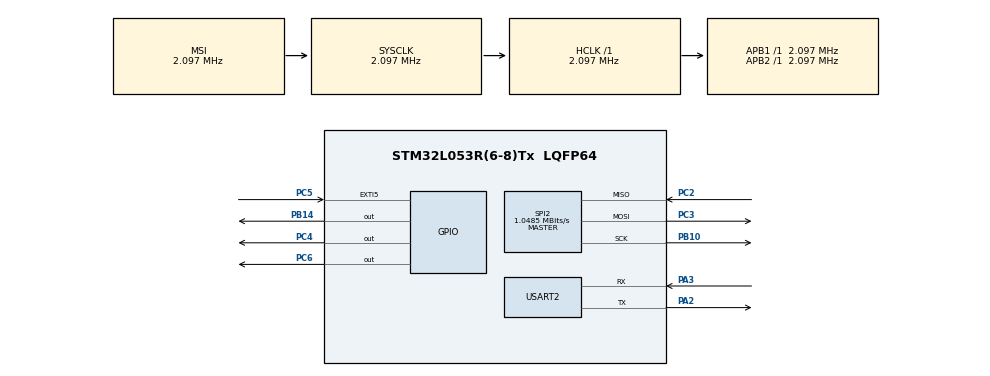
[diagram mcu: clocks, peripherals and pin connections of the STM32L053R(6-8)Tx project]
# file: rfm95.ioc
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Mcu.Family=STM32L0
Mcu.Name=STM32L053R(6-8)Tx
Mcu.Package=LQFP64
PA2.Mode=Asynchronous
PA2.Signal=USART2_TX
PA3.Mode=Asynchronous
PA3.Signal=USART2_RX
PB10.Mode=Full_Duplex_Master
PB10.Signal=SPI2_SCK
PB14.Signal=GPIO_Output
PC2.Mode=Full_Duplex_Master
PC2.Signal=SPI2_MISO
PC3.Mode=Full_Duplex_Master
PC3.Signal=SPI2_MOSI
PC4.Signal=GPIO_Output
PC5.Signal=GPXTI5
PC6.Signal=GPIO_Output
ProjectManager.HeapSize=0x200
ProjectManager.StackSize=0x400
ProjectManager.TargetToolchain=MDK-ARM V5.27
RCC.AHBFreq_Value=2097000
RCC.APB1Freq_Value=2097000
RCC.APB1TimFreq_Value=2097000
RCC.APB2Freq_Value=2097000
RCC.APB2TimFreq_Value=2097000
RCC.HSE_VALUE=8000000
RCC.HSI16_VALUE=16000000
RCC.HSI48_VALUE=48000000
RCC.HSI_VALUE=16000000
RCC.LSE_VALUE=32768
RCC.MSI_VALUE=2097000
RCC.SYSCLKFreq_VALUE=2097000
RCC.VCOOutputFreq_Value=48000000
SPI2.CalculateBaudRate=1.0485 MBits/s
SPI2.Direction=SPI_DIRECTION_2LINES
SPI2.Mode=SPI_MODE_MASTER
SPI2.VirtualType=VM_MASTER
USART2.VirtualMode-Asynchronous=VM_ASYNC
board=custom

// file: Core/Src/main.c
/* USER CODE BEGIN Header */
/**
  ******************************************************************************
  * @file           : main.c
  * @brief          : Main program body
  ******************************************************************************
  * @attention
  *
  * <h2><center>&copy; Copyright (c) 2021 STMicroelectronics.
  * All rights reserved.</center></h2>
  *
  * This software component is licensed by ST under BSD 3-Clause license,
  * the "License"; You may not use this file except in compliance with the
  * License. You may obtain a copy of the License at:
  *                        opensource.org/licenses/BSD-3-Clause
  *
  ******************************************************************************
  */
/* USER CODE END Header */
#include "main.h"

/* USER CODE BEGIN Includes */
#include "lora_sx1276.h"
#include <stdio.h>
/* USER CODE END Includes */

SPI_HandleTypeDef hspi2;

UART_HandleTypeDef huart2;

void SystemClock_Config(void);
static void MX_GPIO_Init(void);
static void MX_SPI2_Init(void);
static void MX_USART2_UART_Init(void);

/* USER CODE BEGIN 0 */
//Luyao: redirect printf output to USART
#ifdef __GNUC__
  /* With GCC/RAISONANCE, small printf (option LD Linker->Libraries->Small printf
     set to 'Yes') calls __io_putchar() */
  #define PUTCHAR_PROTOTYPE int __io_putchar(int ch)
#else
  #define PUTCHAR_PROTOTYPE int fputc(int ch, FILE *f)
#endif /* __GNUC__ */
/**
  * @brief  Retargets the C library printf function to the USART.
  * @param  None
  * @retval None
  */
PUTCHAR_PROTOTYPE
{
  /* Place your implementation of fputc here */
  /* e.g. write a character to the EVAL_COM1 and Loop until the end of transmission */
  HAL_UART_Transmit(&huart2, (uint8_t *)&ch, 1, 0xFFFF);

  return ch;
}

#define Dummy_Byte    0xFF

/*
PC2 MISO  IN
PC3 MOSI  OUT

PB10 SCK  OUT
PB14 SSN  OUT

PC4 EN    OUT
PC5 IRQ   EXT
PC6 RST   OUT

*/

void SPI_CS_1(){
		HAL_GPIO_WritePin(GPIOB, GPIO_PIN_14, GPIO_PIN_SET);
}

void SPI_CS_0(){
		HAL_GPIO_WritePin(GPIOB, GPIO_PIN_14, GPIO_PIN_RESET);
}

void SPI_SCK_1(){
		HAL_GPIO_WritePin(GPIOB, GPIO_PIN_10, GPIO_PIN_SET);
}

void SPI_SCK_0(){
		HAL_GPIO_WritePin(GPIOB, GPIO_PIN_10, GPIO_PIN_RESET);
}

void SPI_MOSI_1(){
		HAL_GPIO_WritePin(GPIOC, GPIO_PIN_3, GPIO_PIN_SET);
}

void SPI_MOSI_0(){
	HAL_GPIO_WritePin(GPIOC, GPIO_PIN_3, GPIO_PIN_RESET);
}

void SPI_RST_1(){
	HAL_GPIO_WritePin(GPIOC, GPIO_PIN_6, GPIO_PIN_RESET);
}

void SPI_RST_0(){
	HAL_GPIO_WritePin(GPIOC, GPIO_PIN_6, GPIO_PIN_RESET);
}

uint8_t SPI_READ_MISO(){
	GPIO_PinState bitstatus = HAL_GPIO_ReadPin(GPIOC, GPIO_PIN_2);
	return bitstatus;
}

void SPI_IoInit(void)
{

	/*
	PB10 SCK  OUT
	PB14 SSN  OUT

	PC2 MISO  IN

	PC3 MOSI  OUT
	PC4 EN    OUT
	PC6 RST   OUT

	PC5 IRQ   EXT
	*/
  GPIO_InitTypeDef GPIO_InitStruct = {0};

  GPIO_InitStruct.Pin = GPIO_PIN_10 | GPIO_PIN_14;
  GPIO_InitStruct.Mode = GPIO_MODE_OUTPUT_PP;
  GPIO_InitStruct.Pull = GPIO_NOPULL;
  GPIO_InitStruct.Speed = GPIO_SPEED_FREQ_HIGH;
  HAL_GPIO_Init(GPIOB, &GPIO_InitStruct);

  GPIO_InitStruct.Pin = GPIO_PIN_2;
  GPIO_InitStruct.Mode = GPIO_MODE_INPUT;
  GPIO_InitStruct.Pull = GPIO_NOPULL;
  GPIO_InitStruct.Speed = GPIO_SPEED_FREQ_HIGH;
  HAL_GPIO_Init(GPIOC, &GPIO_InitStruct);

	GPIO_InitStruct.Pin = GPIO_PIN_3 | GPIO_PIN_4 | GPIO_PIN_6;
  GPIO_InitStruct.Mode = GPIO_MODE_OUTPUT_PP;
  GPIO_InitStruct.Pull = GPIO_NOPULL;
  GPIO_InitStruct.Speed = GPIO_SPEED_FREQ_LOW;
  HAL_GPIO_Init(GPIOC, &GPIO_InitStruct);

	SPI_CS_1();
  SPI_SCK_0();
}

void spi_delay(){
	for(int i=0;i<=255;i++){
		__nop();
	}
	//HAL_Delay(1);

}

//SPI,
uint8_t SPI_ReadWriteByte(uint8_t txData)
{
    uint8_t i;
    uint8_t rxData = 0;

		//SPI_CS_0();
		spi_delay();
    for(i = 0; i < 8; i++)
    {
        SPI_SCK_0();
        spi_delay();
        //
        if(txData & 0x80){
            SPI_MOSI_1();
        }else{
            SPI_MOSI_0();
        }
        txData <<= 1;
        spi_delay();

        SPI_SCK_1();

				spi_delay();
        //
        rxData <<= 1;
        if(SPI_READ_MISO()){
            rxData |= 0x01;
        }
        spi_delay();
    }
    //SPI_SCK_0();
		//SPI_CS_1();
    return rxData;
}

uint8_t SPI_ReadByte(void)
{
    return SPI_ReadWriteByte(Dummy_Byte);
}

uint8_t SPI_ReadWriteByte_fixed(uint8_t txData)
{
    uint8_t i;
    uint8_t rxData = 0;

		//SPI_CS_0();
		spi_delay();

    for(i = 0; i < 8; i++)
    {
        SPI_SCK_0();
        //spi_delay();
			spi_delay();

        //
        if(txData & 0x80){
            SPI_MOSI_1();
        }else{
            SPI_MOSI_0();
        }
        txData <<= 1;
        //spi_delay();

        SPI_SCK_1();
    }
    rxData = SPI_ReadByte();
		SPI_SCK_0();
		//SPI_CS_1();
    return rxData;
}

void SPI_WriteByte(uint8_t txData)
{
    (void)SPI_ReadWriteByte(txData);
}

/* USER CODE END 0 */

int main(void)
{

  /* MCU Configuration--------------------------------------------------------*/

  /* Reset of all peripherals, Initializes the Flash interface and the Systick. */
  HAL_Init();

  /* Configure the system clock */
  SystemClock_Config();

  /* Initialize all configured peripherals */
  MX_GPIO_Init();
  MX_SPI2_Init();
  MX_USART2_UART_Init();
  /* USER CODE BEGIN 2 */
	//SPI_IoInit();
	uint8_t rxdata;
  lora_sx1276 lora;

	// EN PIN - ON
	HAL_GPIO_WritePin(GPIOC, GPIO_PIN_4,GPIO_PIN_SET);

	// RESET PIN - OFF
	HAL_GPIO_WritePin(GPIOC, GPIO_PIN_6,GPIO_PIN_RESET);

	printf("USART Test: On\r\n");
	// SX1276 compatible module connected to SPI1, NSS pin connected to GPIO with label LORA_NSS
	uint8_t res = lora_init(&lora, &hspi2, GPIOB, GPIO_PIN_14, LORA_BASE_FREQUENCY_US);

  /* USER CODE END 2 */

  /* Infinite loop */
  /* USER CODE BEGIN WHILE */

	 GPIO_InitTypeDef GPIO_InitStruct = {0};

  /*Configure GPIO pins : PC4 PC6 */
  GPIO_InitStruct.Pin = GPIO_PIN_6;
  GPIO_InitStruct.Mode = GPIO_MODE_OUTPUT_PP;
  GPIO_InitStruct.Pull = GPIO_NOPULL;
  GPIO_InitStruct.Speed = GPIO_SPEED_FREQ_LOW;
  HAL_GPIO_Init(GPIOC, &GPIO_InitStruct);

	SPI_RST_1();
	HAL_Delay(10);
	//SPI_RST_0();

  while (1)
  {
		uint8_t REG_VERSION  = 0x42;
    /* USER CODE END WHILE */
		SPI_CS_0();
		HAL_SPI_Transmit(&hspi2,&REG_VERSION,1,0xFF);
		HAL_SPI_Receive(&hspi2,&rxdata,1,0xFF);
  //uint8_t res = lora_init(&lora, &hspi2, GPIOB, GPIO_PIN_14, LORA_BASE_FREQUENCY_US);
		//SPI_SCK_0();

		//spi_delay();
		//SPI_ReadWriteByte(REG_VERSION);
		//rxdata = SPI_ReadWriteByte(0x00);
		//spi_delay();
		SPI_CS_1();
		//HAL_Delay(500);
  //printf("received: %x\r\n",rxdata);
	HAL_Delay(20);
  }
}

void SystemClock_Config(void)
{
  RCC_OscInitTypeDef RCC_OscInitStruct = {0};
  RCC_ClkInitTypeDef RCC_ClkInitStruct = {0};
  RCC_PeriphCLKInitTypeDef PeriphClkInit = {0};

  /** Configure the main internal regulator output voltage
  */
  __HAL_PWR_VOLTAGESCALING_CONFIG(PWR_REGULATOR_VOLTAGE_SCALE1);
  /** Initializes the RCC Oscillators according to the specified parameters
  * in the RCC_OscInitTypeDef structure.
  */
  RCC_OscInitStruct.OscillatorType = RCC_OSCILLATORTYPE_MSI;
  RCC_OscInitStruct.MSIState = RCC_MSI_ON;
  RCC_OscInitStruct.MSICalibrationValue = 0;
  RCC_OscInitStruct.MSIClockRange = RCC_MSIRANGE_5;
  RCC_OscInitStruct.PLL.PLLState = RCC_PLL_NONE;
  if (HAL_RCC_OscConfig(&RCC_OscInitStruct) != HAL_OK)
  {
    Error_Handler();
  }
  /** Initializes the CPU, AHB and APB buses clocks
  */
  RCC_ClkInitStruct.ClockType = RCC_CLOCKTYPE_HCLK|RCC_CLOCKTYPE_SYSCLK
                              |RCC_CLOCKTYPE_PCLK1|RCC_CLOCKTYPE_PCLK2;
  RCC_ClkInitStruct.SYSCLKSource = RCC_SYSCLKSOURCE_MSI;
  RCC_ClkInitStruct.AHBCLKDivider = RCC_SYSCLK_DIV1;
  RCC_ClkInitStruct.APB1CLKDivider = RCC_HCLK_DIV1;
  RCC_ClkInitStruct.APB2CLKDivider = RCC_HCLK_DIV1;

  if (HAL_RCC_ClockConfig(&RCC_ClkInitStruct, FLASH_LATENCY_0) != HAL_OK)
  {
    Error_Handler();
  }
  PeriphClkInit.PeriphClockSelection = RCC_PERIPHCLK_USART2;
  PeriphClkInit.Usart2ClockSelection = RCC_USART2CLKSOURCE_PCLK1;
  if (HAL_RCCEx_PeriphCLKConfig(&PeriphClkInit) != HAL_OK)
  {
    Error_Handler();
  }
}

static void MX_SPI2_Init(void)
{

  /* SPI2 parameter configuration*/
  hspi2.Instance = SPI2;
  hspi2.Init.Mode = SPI_MODE_MASTER;
  hspi2.Init.Direction = SPI_DIRECTION_2LINES;
  hspi2.Init.DataSize = SPI_DATASIZE_8BIT;
  hspi2.Init.CLKPolarity = SPI_POLARITY_LOW;
  hspi2.Init.CLKPhase = SPI_PHASE_1EDGE;
  hspi2.Init.NSS = SPI_NSS_SOFT;
  hspi2.Init.BaudRatePrescaler = SPI_BAUDRATEPRESCALER_64;
  hspi2.Init.FirstBit = SPI_FIRSTBIT_MSB;
  hspi2.Init.TIMode = SPI_TIMODE_DISABLE;
  hspi2.Init.CRCCalculation = SPI_CRCCALCULATION_DISABLE;
  hspi2.Init.CRCPolynomial = 7;
  if (HAL_SPI_Init(&hspi2) != HAL_OK)
  {
    Error_Handler();
  }

}

static void MX_USART2_UART_Init(void)
{

  huart2.Instance = USART2;
  huart2.Init.BaudRate = 115200;
  huart2.Init.WordLength = UART_WORDLENGTH_8B;
  huart2.Init.StopBits = UART_STOPBITS_1;
  huart2.Init.Parity = UART_PARITY_NONE;
  huart2.Init.Mode = UART_MODE_TX_RX;
  huart2.Init.HwFlowCtl = UART_HWCONTROL_NONE;
  huart2.Init.OverSampling = UART_OVERSAMPLING_16;
  huart2.Init.OneBitSampling = UART_ONE_BIT_SAMPLE_DISABLE;
  huart2.AdvancedInit.AdvFeatureInit = UART_ADVFEATURE_NO_INIT;
  if (HAL_UART_Init(&huart2) != HAL_OK)
  {
    Error_Handler();
  }

}

static void MX_GPIO_Init(void)
{
  GPIO_InitTypeDef GPIO_InitStruct = {0};

  /* GPIO Ports Clock Enable */
  __HAL_RCC_GPIOC_CLK_ENABLE();
  __HAL_RCC_GPIOA_CLK_ENABLE();
  __HAL_RCC_GPIOB_CLK_ENABLE();

  /*Configure GPIO pin Output Level */
  HAL_GPIO_WritePin(GPIOC, GPIO_PIN_4|GPIO_PIN_6, GPIO_PIN_RESET);

  /*Configure GPIO pin Output Level */
  HAL_GPIO_WritePin(GPIOB, GPIO_PIN_14, GPIO_PIN_RESET);

  /*Configure GPIO pins : PC4 PC6 */
  GPIO_InitStruct.Pin = GPIO_PIN_4|GPIO_PIN_6;
  GPIO_InitStruct.Mode = GPIO_MODE_OUTPUT_PP;
  GPIO_InitStruct.Pull = GPIO_NOPULL;
  GPIO_InitStruct.Speed = GPIO_SPEED_FREQ_LOW;
  HAL_GPIO_Init(GPIOC, &GPIO_InitStruct);

  /*Configure GPIO pin : PC5 */
  GPIO_InitStruct.Pin = GPIO_PIN_5;
  GPIO_InitStruct.Mode = GPIO_MODE_IT_RISING;
  GPIO_InitStruct.Pull = GPIO_NOPULL;
  HAL_GPIO_Init(GPIOC, &GPIO_InitStruct);

  /*Configure GPIO pin : PB14 */
  GPIO_InitStruct.Pin = GPIO_PIN_14;
  GPIO_InitStruct.Mode = GPIO_MODE_OUTPUT_PP;
  GPIO_InitStruct.Pull = GPIO_NOPULL;
  GPIO_InitStruct.Speed = GPIO_SPEED_FREQ_LOW;
  HAL_GPIO_Init(GPIOB, &GPIO_InitStruct);

}

void Error_Handler(void)
{
}

/************************ (C) COPYRIGHT STMicroelectronics *****END OF FILE****/
